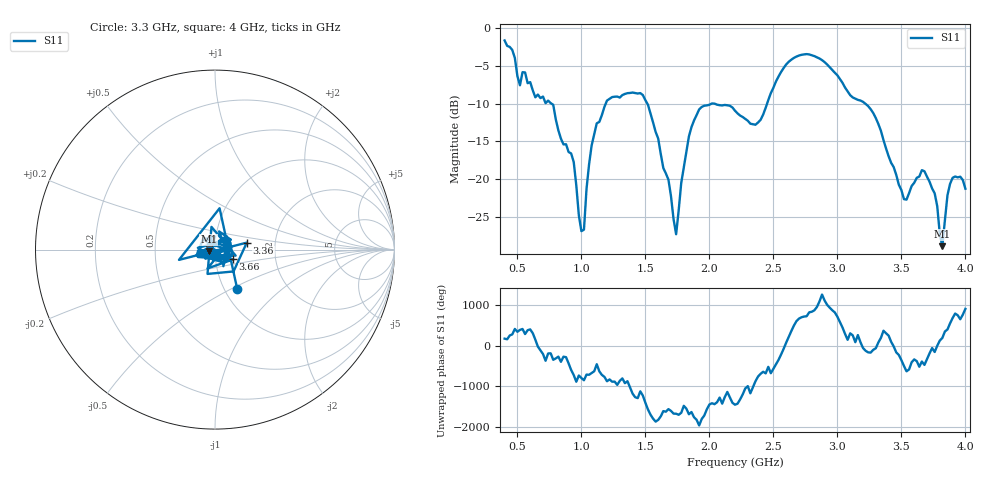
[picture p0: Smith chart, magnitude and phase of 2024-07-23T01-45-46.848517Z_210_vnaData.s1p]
!Created with skrf (http://scikit-rf.org).
# Hz S RI R 50.0
!freq ReS11 ImS11
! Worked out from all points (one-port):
!   181 points, 400 MHz to 4 GHz, reference 50 ohm
!   lowest |S11| = -28.9 dB at 3.82 GHz (marker M1), VSWR 1.07, Z = 46.6 - j0.832 ohm
!   |S11| at or under -10 dB: 766 MHz to 1.19 GHz (424.2 MHz wide, 43.4 % of centre); 1.515 GHz to 2.018 GHz (502.5 MHz wide, 28.4 % of centre); 3.217 GHz to end of sweep (the widest 3 of 4)
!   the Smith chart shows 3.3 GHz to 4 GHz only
!   S11 on the Smith chart (normalised r, x): 3.3 GHz: 1.15, -0.54; 3.36 GHz: 1.43, +0.11; 3.66 GHz: 1.22, -0.13; 4 GHz: 0.84, -0.03
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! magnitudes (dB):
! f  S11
! 400 MHz  -1.6
! 520 MHz  -7.6
! 780 MHz  -10.2
! 860 MHz  -15.4
! 940 MHz  -17.7
! 980 MHz  -24.8
! 1.02 GHz  -26.7
! 1.06 GHz  -18.0
! 1.12 GHz  -12.6
! 1.3 GHz  -9.2
! 1.52 GHz  -10.2
! 1.68 GHz  -20.1
! 1.74 GHz  -27.3
! 1.76 GHz  -24.1
! 1.84 GHz  -14.3
! 1.92 GHz  -10.8
! 2.2 GHz  -10.9
! 2.38 GHz  -12.5
! 2.66 GHz  -3.9
! 3.1 GHz  -8.9
! 3.3 GHz  -11.9
! 3.36 GHz  -14.8
! 3.56 GHz  -21.9
! 3.66 GHz  -18.8
! 3.76 GHz  -21.9
! 3.82 GHz  -28.9
! 3.88 GHz  -20.6
! 4 GHz  -21.3
